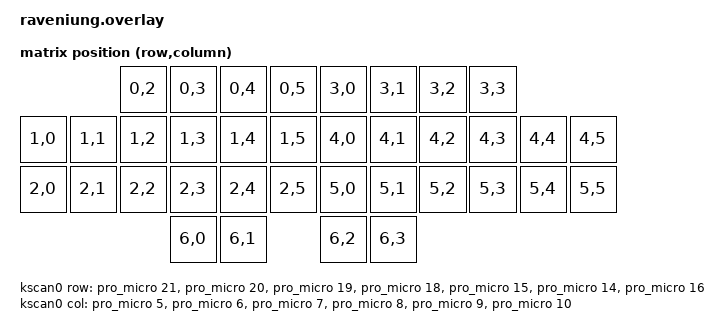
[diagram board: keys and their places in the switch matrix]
/*
 * Copyright (c) 2020 The ZMK Contributors
 *
 * SPDX-License-Identifier: MIT
 */

#include <dt-bindings/zmk/matrix_transform.h>


/ {
    chosen {
        zmk,kscan = &kscan0;
        zmk,matrix_transform = &default_transform;
    };

    default_transform: keymap_transform_0 {
        compatible = "zmk,matrix-transform";
        columns = <6>;
        rows = <7>;

        map = <
                RC(0,2) RC(0,3) RC(0,4) RC(0,5) RC(3,0) RC(3,1) RC(3,2) RC(3,3)
RC(1,0) RC(1,1) RC(1,2) RC(1,3) RC(1,4) RC(1,5) RC(4,0) RC(4,1) RC(4,2) RC(4,3) RC(4,4) RC(4,5)
RC(2,0) RC(2,1) RC(2,2) RC(2,3) RC(2,4) RC(2,5) RC(5,0) RC(5,1) RC(5,2) RC(5,3) RC(5,4) RC(5,5)
                            RC(6,0)    RC(6,1)    RC(6,2)  RC(6,3)
        >;
    };

    kscan0: kscan_0 {
        compatible = "zmk,kscan-gpio-matrix";
        wakeup-source;

        diode-direction = "col2row";

        col-gpios
            = <&pro_micro 5 GPIO_ACTIVE_HIGH>
            , <&pro_micro 6 GPIO_ACTIVE_HIGH>
            , <&pro_micro 7 GPIO_ACTIVE_HIGH>
            , <&pro_micro 8 GPIO_ACTIVE_HIGH>
            , <&pro_micro 9 GPIO_ACTIVE_HIGH>
            , <&pro_micro 10 GPIO_ACTIVE_HIGH>
            ;

        row-gpios
            = <&pro_micro 21 (GPIO_ACTIVE_HIGH | GPIO_PULL_DOWN)>
            , <&pro_micro 20 (GPIO_ACTIVE_HIGH | GPIO_PULL_DOWN)>
            , <&pro_micro 19 (GPIO_ACTIVE_HIGH | GPIO_PULL_DOWN)>
            , <&pro_micro 18 (GPIO_ACTIVE_HIGH | GPIO_PULL_DOWN)>
            , <&pro_micro 15 (GPIO_ACTIVE_HIGH | GPIO_PULL_DOWN)>
            , <&pro_micro 14 (GPIO_ACTIVE_HIGH | GPIO_PULL_DOWN)>
            , <&pro_micro 16 (GPIO_ACTIVE_HIGH | GPIO_PULL_DOWN)>
            ;
    };
};

&pro_micro_i2c {
    status = "okay";

    tps65: iqs5xx@74 {
        status = "okay";
        compatible = "azoteq,iqs5xx";
        reg = <0x74>;

        one-finger-tap;
        press-and-hold;
        press-and-hold-time = <250>;
        two-finger-tap;

        scroll;
        natural-scroll-y;
        natural-scroll-x;

        bottom-beta = <3>;
        stationary-threshold = <5>;

        flip-x;

        reset-gpios = <&pro_micro 0 GPIO_ACTIVE_LOW>; /* 008 */
        rdy-gpios = <&pro_micro 1 GPIO_ACTIVE_HIGH>; /* 006 */
    };
};
